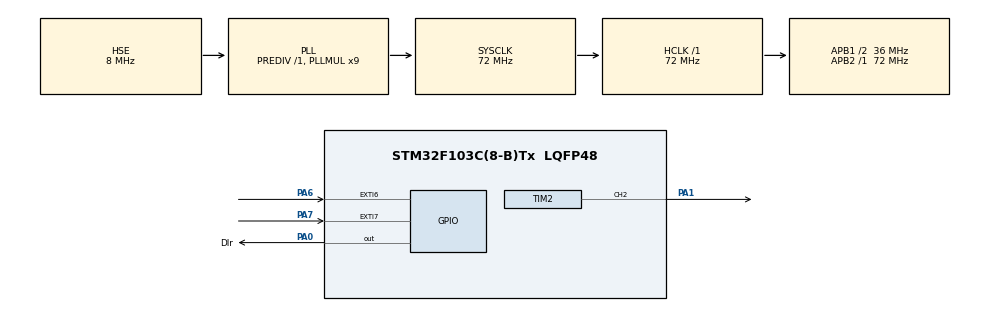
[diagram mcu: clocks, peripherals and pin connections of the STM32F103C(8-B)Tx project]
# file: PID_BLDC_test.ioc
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Mcu.Family=STM32F1
Mcu.Name=STM32F103C(8-B)Tx
Mcu.Package=LQFP48
NVIC.EXTI9_5_IRQn=true\:0\:0\:false\:false\:true\:true\:true\:true
NVIC.PriorityGroup=NVIC_PRIORITYGROUP_4
PA0-WKUP.GPIO_Label=DIr
PA0-WKUP.Signal=GPIO_Output
PA1.Signal=S_TIM2_CH2
PA13.Mode=Serial_Wire
PA13.Signal=SYS_JTMS-SWDIO
PA14.Mode=Serial_Wire
PA14.Signal=SYS_JTCK-SWCLK
PA6.Signal=GPXTI6
PA7.GPIO_PuPd=GPIO_NOPULL
PA7.Signal=GPXTI7
PD0-OSC_IN.Mode=HSE-External-Oscillator
PD0-OSC_IN.Signal=RCC_OSC_IN
PD1-OSC_OUT.Mode=HSE-External-Oscillator
PD1-OSC_OUT.Signal=RCC_OSC_OUT
ProjectManager.HeapSize=0x200
ProjectManager.StackSize=0x400
ProjectManager.TargetToolchain=STM32CubeIDE
RCC.AHBFreq_Value=72000000
RCC.APB1CLKDivider=RCC_HCLK_DIV2
RCC.APB1Freq_Value=36000000
RCC.APB1TimFreq_Value=72000000
RCC.APB2Freq_Value=72000000
RCC.APB2TimFreq_Value=72000000
RCC.HCLKFreq_Value=72000000
RCC.PLLMUL=RCC_PLL_MUL9
RCC.PLLSourceVirtual=RCC_PLLSOURCE_HSE
RCC.SYSCLKFreq_VALUE=72000000
RCC.SYSCLKSource=RCC_SYSCLKSOURCE_PLLCLK
RCC.USBFreq_Value=72000000
SH.S_TIM2_CH2.0=TIM2_CH2,PWM Generation2 CH2
TIM2.Channel-PWM\ Generation2\ CH2=TIM_CHANNEL_2
TIM2.Period=1000-1
TIM2.Prescaler=72-1
VP_TIM2_VS_ClockSourceINT.Mode=Internal
board=custom

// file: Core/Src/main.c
/* USER CODE BEGIN Header */
/**
  ******************************************************************************
  * @file           : main.c
  * @brief          : Main program body
  ******************************************************************************
  * @attention
  *
  * Copyright (c) 2023 STMicroelectronics.
  * All rights reserved.
  *
  * This software is licensed under terms that can be found in the LICENSE file
  * in the root directory of this software component.
  * If no LICENSE file comes with this software, it is provided AS-IS.
  *
  ******************************************************************************
  */
/* USER CODE END Header */
#include "main.h"

TIM_HandleTypeDef htim2;

void SystemClock_Config(void);
static void MX_GPIO_Init(void);
static void MX_TIM2_Init(void);

/* USER CODE BEGIN 0 */
int Count;
void HAL_GPIO_EXTI_Callback(uint16_t GPIO_Pin)
{
	if(GPIO_Pin == GPIO_PIN_7)Count++;
}
float realSpeed,filSpeed,prefilspeed;
float deltaT = 0.1;

void calSpeed()
{
	realSpeed = ((Count/deltaT)/(33))*60;
	filSpeed = 0.854*filSpeed + 0.0728*realSpeed+0.0728*prefilspeed;
	prefilspeed = realSpeed;
	Count = 0;
}

int pwmValue;
float e,pre_e;
float Target;
float kP = 0.1;
float kI = 5;
float kD = 0;
float uP;

float uI;
float kB = 1;

float uD,uDf,uDf_p;
float alpha;
float u,uSat;
float uHighLimit = 1000,uLowLimit = 0;

void PID(float currentValue)
{
	e = Target - currentValue;

	uP = kP * e;

	uI += (kI*e + 1/(deltaT)*(-u + uSat))*deltaT;

	uD = kD*(e-pre_e)/deltaT;

	uDf = (1-alpha)*uDf_p+alpha*uD;

	pre_e = e;
	uDf_p = uDf;

	u = uP + uI + uDf;

	if(u>=uHighLimit)uSat = uHighLimit;
	else if(u<=uLowLimit)uSat = uLowLimit;
	else uSat = u;
}

/* USER CODE END 0 */

int main(void)
{

  /* MCU Configuration--------------------------------------------------------*/

  /* Reset of all peripherals, Initializes the Flash interface and the Systick. */
  HAL_Init();

  /* Configure the system clock */
  SystemClock_Config();

  /* Initialize all configured peripherals */
  MX_GPIO_Init();
  MX_TIM2_Init();
  /* USER CODE BEGIN 2 */
  HAL_TIM_PWM_Start(&htim2,TIM_CHANNEL_2);
  Target = 1300;
  /* USER CODE END 2 */

  /* Infinite loop */
  /* USER CODE BEGIN WHILE */
  while (1)
  {
//	  calSpeed();
//	  PID(realSpeed);
	  __HAL_TIM_SET_COMPARE(&htim2,TIM_CHANNEL_2,1000);
//	  HAL_Delay(100);
    /* USER CODE END WHILE */

  }
}

void SystemClock_Config(void)
{
  RCC_OscInitTypeDef RCC_OscInitStruct = {0};
  RCC_ClkInitTypeDef RCC_ClkInitStruct = {0};

  /** Initializes the RCC Oscillators according to the specified parameters
  * in the RCC_OscInitTypeDef structure.
  */
  RCC_OscInitStruct.OscillatorType = RCC_OSCILLATORTYPE_HSE;
  RCC_OscInitStruct.HSEState = RCC_HSE_ON;
  RCC_OscInitStruct.HSEPredivValue = RCC_HSE_PREDIV_DIV1;
  RCC_OscInitStruct.HSIState = RCC_HSI_ON;
  RCC_OscInitStruct.PLL.PLLState = RCC_PLL_ON;
  RCC_OscInitStruct.PLL.PLLSource = RCC_PLLSOURCE_HSE;
  RCC_OscInitStruct.PLL.PLLMUL = RCC_PLL_MUL9;
  if (HAL_RCC_OscConfig(&RCC_OscInitStruct) != HAL_OK)
  {
    Error_Handler();
  }

  /** Initializes the CPU, AHB and APB buses clocks
  */
  RCC_ClkInitStruct.ClockType = RCC_CLOCKTYPE_HCLK|RCC_CLOCKTYPE_SYSCLK
                              |RCC_CLOCKTYPE_PCLK1|RCC_CLOCKTYPE_PCLK2;
  RCC_ClkInitStruct.SYSCLKSource = RCC_SYSCLKSOURCE_PLLCLK;
  RCC_ClkInitStruct.AHBCLKDivider = RCC_SYSCLK_DIV1;
  RCC_ClkInitStruct.APB1CLKDivider = RCC_HCLK_DIV2;
  RCC_ClkInitStruct.APB2CLKDivider = RCC_HCLK_DIV1;

  if (HAL_RCC_ClockConfig(&RCC_ClkInitStruct, FLASH_LATENCY_2) != HAL_OK)
  {
    Error_Handler();
  }
}

static void MX_TIM2_Init(void)
{

  TIM_ClockConfigTypeDef sClockSourceConfig = {0};
  TIM_MasterConfigTypeDef sMasterConfig = {0};
  TIM_OC_InitTypeDef sConfigOC = {0};

  htim2.Instance = TIM2;
  htim2.Init.Prescaler = 72-1;
  htim2.Init.CounterMode = TIM_COUNTERMODE_UP;
  htim2.Init.Period = 1000-1;
  htim2.Init.ClockDivision = TIM_CLOCKDIVISION_DIV1;
  htim2.Init.AutoReloadPreload = TIM_AUTORELOAD_PRELOAD_DISABLE;
  if (HAL_TIM_Base_Init(&htim2) != HAL_OK)
  {
    Error_Handler();
  }
  sClockSourceConfig.ClockSource = TIM_CLOCKSOURCE_INTERNAL;
  if (HAL_TIM_ConfigClockSource(&htim2, &sClockSourceConfig) != HAL_OK)
  {
    Error_Handler();
  }
  if (HAL_TIM_PWM_Init(&htim2) != HAL_OK)
  {
    Error_Handler();
  }
  sMasterConfig.MasterOutputTrigger = TIM_TRGO_RESET;
  sMasterConfig.MasterSlaveMode = TIM_MASTERSLAVEMODE_DISABLE;
  if (HAL_TIMEx_MasterConfigSynchronization(&htim2, &sMasterConfig) != HAL_OK)
  {
    Error_Handler();
  }
  sConfigOC.OCMode = TIM_OCMODE_PWM1;
  sConfigOC.Pulse = 0;
  sConfigOC.OCPolarity = TIM_OCPOLARITY_HIGH;
  sConfigOC.OCFastMode = TIM_OCFAST_DISABLE;
  if (HAL_TIM_PWM_ConfigChannel(&htim2, &sConfigOC, TIM_CHANNEL_2) != HAL_OK)
  {
    Error_Handler();
  }
  HAL_TIM_MspPostInit(&htim2);

}

static void MX_GPIO_Init(void)
{
  GPIO_InitTypeDef GPIO_InitStruct = {0};

  /* GPIO Ports Clock Enable */
  __HAL_RCC_GPIOD_CLK_ENABLE();
  __HAL_RCC_GPIOA_CLK_ENABLE();

  /*Configure GPIO pin Output Level */
  HAL_GPIO_WritePin(DIr_GPIO_Port, DIr_Pin, GPIO_PIN_RESET);

  /*Configure GPIO pin : DIr_Pin */
  GPIO_InitStruct.Pin = DIr_Pin;
  GPIO_InitStruct.Mode = GPIO_MODE_OUTPUT_PP;
  GPIO_InitStruct.Pull = GPIO_NOPULL;
  GPIO_InitStruct.Speed = GPIO_SPEED_FREQ_LOW;
  HAL_GPIO_Init(DIr_GPIO_Port, &GPIO_InitStruct);

  /*Configure GPIO pins : PA6 PA7 */
  GPIO_InitStruct.Pin = GPIO_PIN_6|GPIO_PIN_7;
  GPIO_InitStruct.Mode = GPIO_MODE_IT_RISING;
  GPIO_InitStruct.Pull = GPIO_NOPULL;
  HAL_GPIO_Init(GPIOA, &GPIO_InitStruct);

  /* EXTI interrupt init*/
  HAL_NVIC_SetPriority(EXTI9_5_IRQn, 0, 0);
  HAL_NVIC_EnableIRQ(EXTI9_5_IRQn);

}

void Error_Handler(void)
{
  __disable_irq();
  while (1)
  {
  }
}
